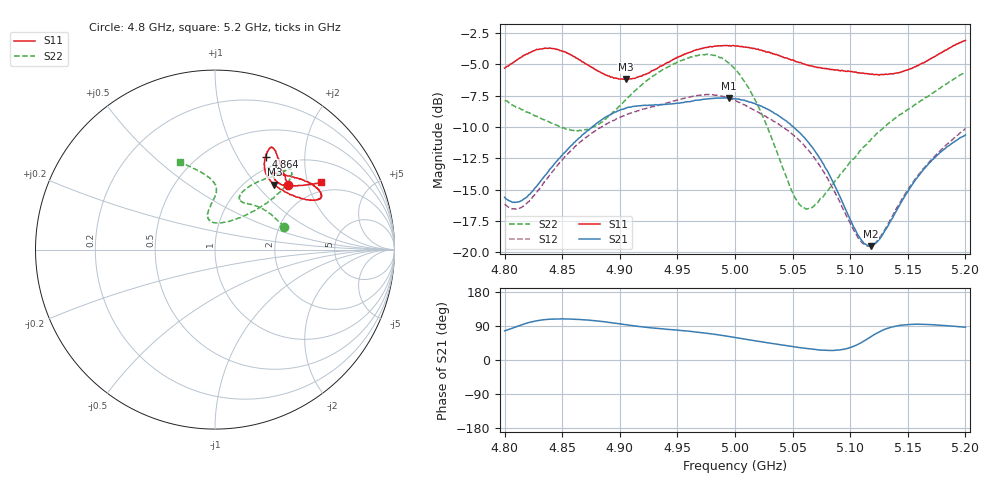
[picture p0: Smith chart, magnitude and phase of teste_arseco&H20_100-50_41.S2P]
! Network Analyzer HP8722D
! Hewlett-Packard
! Data name: Linha & Wilkinson
! Saver's name: Rodrigo Anjos
! Comments: Teste da utilização de aquisição
! continua pelo VNA HP8722D
! Time and date: 6/5/2025 12:54
!  Frequency  S11  S21  S12  S22
# HZ  S  MA R 50
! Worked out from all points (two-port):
!   401 points, 4.8 GHz to 5.2 GHz, reference 50 ohm
!   highest |S21| = -7.68 dB at 4.995 GHz (marker M1); lowest = -19.5 dB at 5.118 GHz (marker M2)
!   |S21| within 3 dB of the highest: 4.867 GHz to 5.058 GHz (191.3 MHz wide, 3.85 % of centre); 5.199496 GHz to end of sweep
!   lowest |S11| = -6.2 dB at 4.905 GHz (marker M3), VSWR 2.92, Z = 65.6 + j62.5 ohm
!   |S11| at or under -10 dB: nowhere
!   |S22| runs from -16.6 to -4.2 dB; largest |S21 - S12| = 0.15
!   S11 on the Smith chart (normalised r, x): 4.8 GHz: 1.46, +1.50; 4.864 GHz: 0.83, +1.32; 5.2 GHz: 1.66, +2.45
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4.8e9  0.5435 41.6  0.1656 77.0  0.1555 42.3  0.403 17.9
4.814e9  0.5986 52.5  0.16 92.1  0.1502 57.3  0.3725 30.4
4.83e9  0.6466 59.0  0.1889 104.6  0.1783 70.8  0.3461 42.3
4.845e9  0.6461 61.5  0.2302 108.5  0.2198 75.4  0.3211 51.6
4.864e9  0.5901 61.3  0.2841 107.1  0.2709 76.3  0.3051 61.1
4.867e9  0.5769 61.2  0.2924 106.4  0.2785 76.2  0.3054 62.2
4.885e9  0.5175 57.2  0.3397 101.5  0.318 74.9  0.3318 65.3
4.905e9  0.4904 47.6  0.376 93.2  0.3529 72.9  0.4051 61.0
4.934e9  0.5474 32.1  0.3877 82.8  0.3876 69.3  0.5242 51.5
4.971e9  0.6499 25.9  0.4061 72.1  0.4243 60.2  0.6127 47.1
4.995e9  0.6685 28.8  0.4132 61.9  0.4111 50.1  0.5683 43.0
5e9  0.6666 30.1  0.41 59.3  0.4043 48.2  0.5394 42.5
5.021e9  0.6423 35.6  0.3858 49.1  0.3604 41.9  0.3754 42.3
5.053e9  0.5765 45.4  0.309 34.1  0.2872 34.4  0.1623 70.0
5.06e9  0.5642 47.6  0.2876 31.2  0.2669 33.0  0.1504 82.2
5.067e9  0.554 49.5  0.2628 28.5  0.245 31.7  0.1506 93.0
5.087e9  0.5345 53.0  0.1826 25.5  0.1723 33.2  0.1931 102.8
5.106e9  0.5214 51.7  0.1186 40.1  0.116 50.7  0.2464 96.0
5.118e9  0.5134 49.2  0.1057 61.8  0.1058 73.6  0.2818 91.6
5.134e9  0.5154 45.6  0.1302 85.3  0.1322 98.0  0.3284 88.6
5.166e9  0.5784 37.9  0.2198 93.9  0.2221 110.7  0.4155 96.5
5.2e9  0.7008 32.2  0.2934 86.5  0.3122 111.6  0.524 112.0
